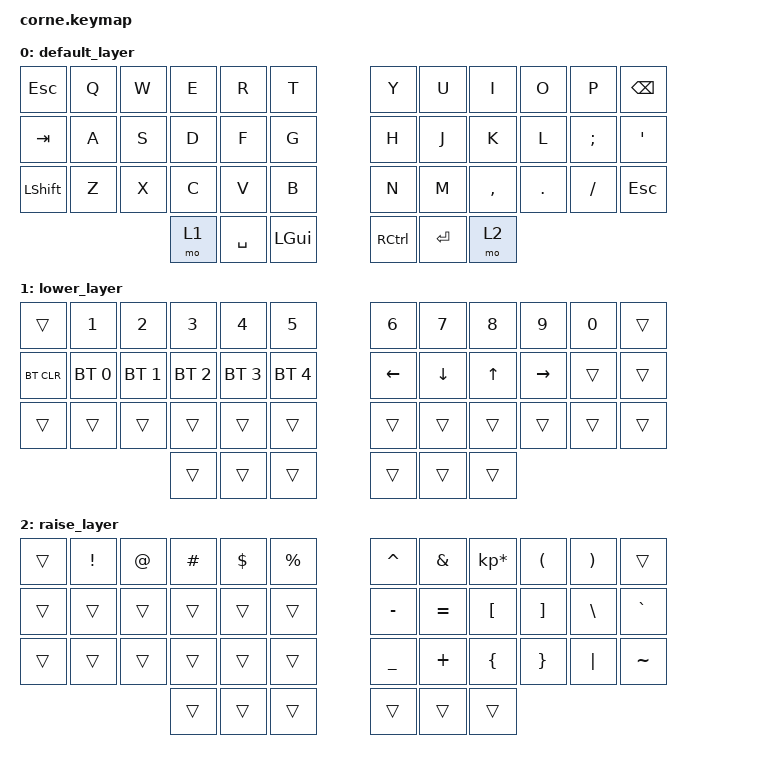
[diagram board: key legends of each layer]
/*
 * Copyright (c) 2020 The ZMK Contributors
 *
 * SPDX-License-Identifier: MIT
 */

#include <behaviors.dtsi>
#include <dt-bindings/zmk/keys.h>
#include <dt-bindings/zmk/bt.h>

/ {
  keymap {
    compatible = "zmk,keymap";

    default_layer {
// -----------------------------------------------------------------------------------------
// | ESC  |  Q  |  W  |  E  |  R  |  T  |    |  Y  |  U  |  I  |  O  |  P  | BKSP |
// | TAB  |  A  |  S  |  D  |  F  |  G  |    |  H  |  J  |  K  |  L  |  ;  |  '   |
// | SHFT |  Z  |  X  |  C  |  V  |  B  |    |  N  |  M  |  ,  |  .  |  /  | ESC  |
//                    | LWR | SPC | GUI |    | CTRL| ENT | RSE |
// -----------------------------------------------------------------------------------------
      bindings = <
        &kp ESC   &kp Q &kp W &kp E &kp R &kp T   &kp Y &kp U  &kp I     &kp O   &kp P    &kp BSPC
        &kp TAB   &kp A &kp S &kp D &kp F &kp G   &kp H &kp J  &kp K     &kp L   &kp SEMI &kp SQT
        &kp LSHFT &kp Z &kp X &kp C &kp V &kp B   &kp N &kp M  &kp COMMA &kp DOT &kp FSLH &kp ESC
                        &mo 1 &kp SPACE &kp LGUI  &kp RCTRL &kp RET &mo 2
      >;
    };

    lower_layer {
// -----------------------------------------------------------------------------------------
// |      |  1  |  2  |  3  |  4  |  5  |    |  6  |  7  |  8  |  9  |  0  |      |
// | BTCLR| BT1 | BT2 | BT3 | BT4 | BT5 |    | LFT | DWN |  UP | RGT |     |      |
// |      |     |     |     |     |     |    |     |     |     |     |     |      |
//                    |     |     |     |    |     |     |     |
// -----------------------------------------------------------------------------------------
      bindings = <
        &trans     &kp N1       &kp N2       &kp N3       &kp N4       &kp N5         &kp N6   &kp N7   &kp N8 &kp N9    &kp N0 &trans
        &bt BT_CLR &bt BT_SEL 0 &bt BT_SEL 1 &bt BT_SEL 2 &bt BT_SEL 3 &bt BT_SEL 4   &kp LEFT &kp DOWN &kp UP &kp RIGHT &trans &trans
        &trans     &trans       &trans       &trans       &trans       &trans         &trans   &trans   &trans &trans    &trans &trans
                         	                   &trans       &trans       &trans         &trans   &trans   &trans
      >;
    };

    raise_layer {
// -----------------------------------------------------------------------------------------
// |      |  !  |  @  |  #  |  $  |  %  |    |  ^  |  &  |  *  |  (  |  )  |      |
// |      |     |     |     |     |     |    |  -  |  =  |  [  |  ]  |  \  |  `   |
// |      |     |     |     |     |     |    |  _  |  +  |  {  |  }  | "|" |  ~   |
//                    |     |     |     |    |     |     |     |
// -----------------------------------------------------------------------------------------
      bindings = <
        &trans &kp EXCL &kp AT &kp HASH &kp DLLR &kp PRCNT   &kp CARET &kp AMPS  &kp KP_MULTIPLY &kp LPAR &kp RPAR &trans
        &trans &trans   &trans &trans   &trans   &trans      &kp MINUS &kp EQUAL &kp LBKT        &kp RBKT &kp BSLH &kp GRAVE
        &trans &trans   &trans &trans   &trans   &trans      &kp UNDER &kp PLUS  &kp LBRC        &kp RBRC &kp PIPE &kp TILDE
                         	     &trans   &trans   &trans      &trans   &trans    &trans
      >;
    };
  };
};
